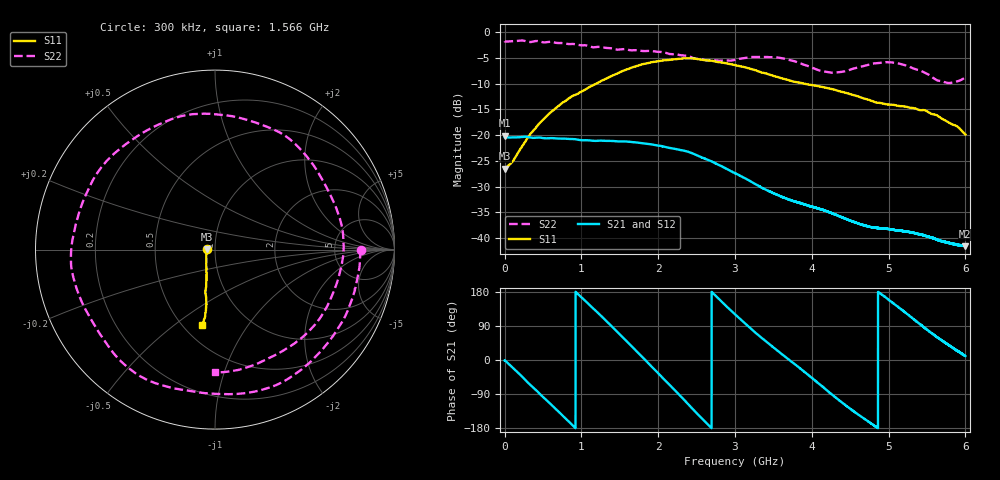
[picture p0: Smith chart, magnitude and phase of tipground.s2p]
!  8/6/2020  02:26:57
! Ref Plane: 0.000 mm
# MHZ S MA R  50
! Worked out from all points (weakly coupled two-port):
!   10001 points, 300 kHz to 6 GHz, reference 50 ohm
!   highest |S21| = -20.10 dB at 300 kHz (marker M1); lowest = -41.6 dB at 5.994 GHz (marker M2)
!   lowest |S11| = -26.5 dB at 300 kHz (marker M3), VSWR 1.10, Z = 45.5 + j0.0927 ohm
!   |S11| at or under -10 dB: start of sweep to 1.197 GHz; 3.897 GHz to end of sweep
!   |S22| runs from -9.9 to -1.6 dB; largest |S21 - S12| = 0.0023
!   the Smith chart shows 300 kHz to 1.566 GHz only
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0.3  0.04736 178.8  0.09884 -1.0  0.09658 -0.8  0.8153 -0.3
290.0855  0.09171 -122.2  0.09621 -56.9  0.09647 -57.0  0.8095 -84.3
593.0704  0.1645 -106.8  0.09352 -114.9  0.09369 -114.8  0.8065 -171.4
819.2591  0.2218 -103.3  0.09192 -159.4  0.09215 -159.4  0.7655 123.7
1000.45  0.2637 -101.0  0.08925 165.4  0.08931 165.5  0.7433 72.8
1258.437  0.336 -98.6  0.08839 116.0  0.08848 116.0  0.7158 -1.4
1543.423  0.4205 -99.5  0.08693 59.2  0.0871 59.1  0.6836 -83.7
1787.611  0.4851 -102.9  0.08349 8.8  0.08366 8.9  0.6565 -151.2
2000.6  0.5198 -106.9  0.0791 -35.1  0.0793 -35.1  0.6431 151.8
2253.187  0.5472 -111.3  0.07272 -87.4  0.07295 -87.4  0.6055 84.7
2535.173  0.5433 -117.6  0.0623 -147.3  0.06229 -147.4  0.5504 5.2
2779.961  0.511 -120.5  0.05169 163.0  0.05167 163.2  0.5278 -68.0
3000.15  0.4777 -122.0  0.04272 120.7  0.04267 120.7  0.5377 -133.3
3232.338  0.4336 -123.3  0.03455 77.9  0.03448 78.0  0.5728 164.9
3514.924  0.3725 -121.0  0.02698 30.8  0.02695 30.9  0.5707 95.0
4000.3  0.3064 -111.3  0.02031 -46.9  0.02022 -46.7  0.4518 -31.6
4219.889  0.2836 -108.3  0.01794 -83.8  0.0179 -83.8  0.4077 -101.5
4485.076  0.252 -104.4  0.01494 -126.2  0.01498 -126.2  0.4269 174.2
5000.45  0.1978 -90.7  0.01227 159.2  0.01224 159.2  0.5089 43.2
5493.025  0.1712 -81.4  0.01048 81.2  0.01045 81.1  0.396 -78.2
5994  0.102 -72.0  0.008364 11.1  0.008476 10.8  0.3599 117.0
6000  0.1013 -72.0  0.008386 10.2  0.008425 10.1  0.3617 115.3
